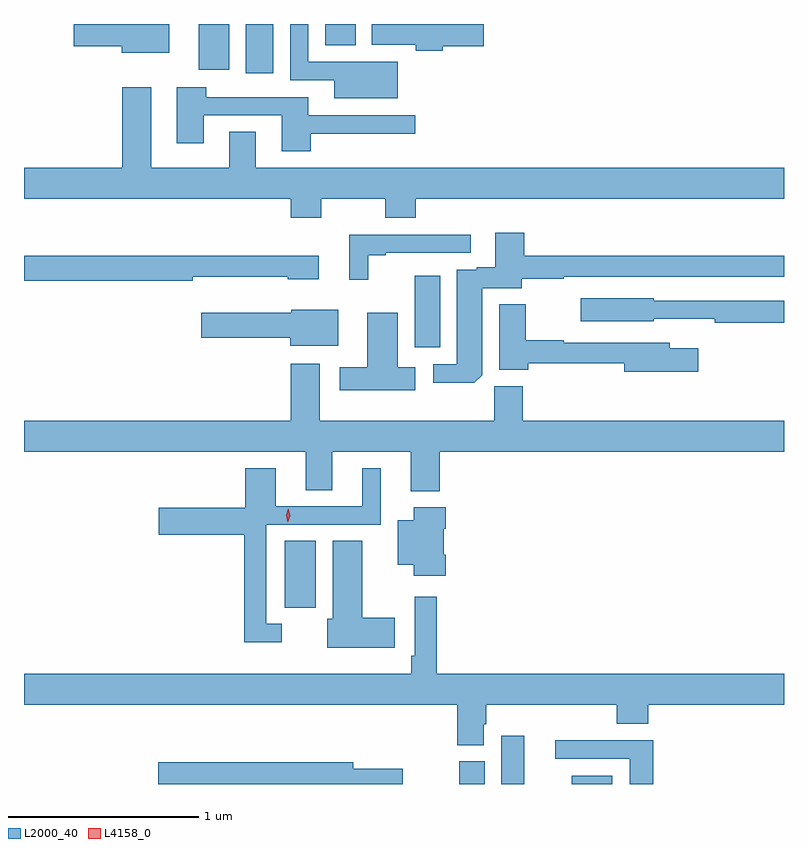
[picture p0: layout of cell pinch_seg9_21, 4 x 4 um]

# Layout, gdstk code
import gdstk
lib = gdstk.Library(unit=1e-6, precision=1e-09)
def R(c, l, rs):  # rectangles x0, y0, x1, y1
    for r in rs: c.add(gdstk.rectangle(r[:2], r[2:], *l))
def P(c, l, *ps):  # polygons
    for p in ps: c.add(gdstk.Polygon(p, *l))
L2000_40 = (2000, 40)
L4158_0 = (4158, 0)

pinch_seg9_21 = lib.new_cell('pinch_seg9_21')
R(pinch_seg9_21, L2000_40, [(978.104,1235.964,978.238,1236.084), (978.326,1235.964,978.448,1236.217), (978.698,1235.964,978.91,1236.007), (977.186,1236.891,977.35,1237.244), (977.87,1238.262,978.004,1238.638), (976.982,1239.705,977.125,1239.964), (976.733,1239.723,976.894,1239.964), (977.399,1239.851,977.56,1239.964)])
P(pinch_seg9_21, L2000_40, [(976.579,1239.964),(976.076,1239.964),(976.076,1239.848),(976.328,1239.848),(976.328,1239.812),(976.579,1239.812)],
  [(977.782,1239.766),(977.556,1239.766),(977.556,1239.765),(977.31,1239.765),(977.31,1239.964),(977.214,1239.964),(977.214,1239.669),(977.447,1239.669),(977.447,1239.572),(977.782,1239.572)],
  [(978.017,1239.848),(978.235,1239.848),(978.235,1239.964),(977.645,1239.964),(977.645,1239.854),(977.875,1239.854),(977.875,1239.824),(978.017,1239.824)],
  [(977.379,1239.044),(977.716,1239.044),(977.716,1238.945),(977.876,1238.945),(977.876,1239.044),(979.814,1239.044),(979.814,1239.208),(977.035,1239.208),(977.035,1239.398),(976.895,1239.398),(976.895,1239.208),(976.483,1239.208),(976.483,1239.631),(976.331,1239.631),(976.331,1239.208),(975.814,1239.208),(975.814,1239.044),(977.219,1239.044),(977.219,1238.945),(977.379,1238.945)],
  [(977.324,1239.386),(977.872,1239.386),(977.872,1239.483),(977.311,1239.483),(977.311,1239.579),(976.772,1239.579),(976.772,1239.631),(976.619,1239.631),(976.619,1239.336),(976.759,1239.336),(976.759,1239.483),(977.171,1239.483),(977.171,1239.294),(977.324,1239.294)],
  [(978.226,1238.116),(978.226,1238.574),(978.433,1238.574),(978.433,1238.622),(978.656,1238.622),(978.656,1238.634),(979.814,1238.634),(979.814,1238.743),(978.446,1238.743),(978.446,1238.866),(978.293,1238.866),(978.293,1238.683),(978.197,1238.683),(978.197,1238.67),(978.092,1238.67),(978.092,1238.172),(977.967,1238.172),(977.967,1238.075),(978.185,1238.075)],
  [(977.625,1238.748),(977.719,1238.748),(977.719,1238.76),(978.166,1238.76),(978.166,1238.856),(977.525,1238.856),(977.525,1238.619),(977.625,1238.619)],
  [(976.702,1238.633),(977.202,1238.633),(977.202,1238.621),(977.365,1238.621),(977.365,1238.743),(975.814,1238.743),(975.814,1238.614),(976.702,1238.614)],
  [(979.814,1238.508),(979.128,1238.508),(979.128,1238.521),(978.744,1238.521),(978.744,1238.399),(979.128,1238.399),(979.128,1238.412),(979.45,1238.412),(979.45,1238.392),(979.814,1238.392)],
  [(979.363,1238.257),(979.213,1238.257),(979.213,1238.286),(978.656,1238.286),(978.656,1238.299),(978.454,1238.299),(978.454,1238.489),(978.314,1238.489),(978.314,1238.143),(978.467,1238.143),(978.467,1238.178),(978.974,1238.178),(978.974,1238.135),(979.363,1238.135)],
  [(977.467,1238.461),(977.22,1238.461),(977.22,1238.443),(976.746,1238.443),(976.746,1238.314),(977.216,1238.314),(977.216,1238.27),(977.467,1238.27)],
  [(977.872,1238.158),(977.782,1238.158),(977.782,1238.443),(977.621,1238.443),(977.621,1238.158),(977.475,1238.158),(977.475,1238.036),(977.872,1238.036)],
  [(978.002,1237.712),(979.814,1237.712),(979.814,1237.876),(978.44,1237.876),(978.44,1238.058),(978.289,1238.058),(978.289,1237.876),(977.371,1237.876),(977.371,1238.176),(977.219,1238.176),(977.219,1237.876),(975.814,1237.876),(975.814,1237.712),(977.297,1237.712),(977.297,1237.51),(977.437,1237.51),(977.437,1237.712),(977.849,1237.712),(977.849,1237.506),(978.002,1237.506)],
  [(977.17,1236.807),(977.088,1236.807),(977.088,1237.329),(977.692,1237.329),(977.692,1237.627),(977.594,1237.627),(977.594,1237.425),(977.14,1237.425),(977.14,1237.627),(976.979,1237.627),(976.979,1237.419),(976.524,1237.419),(976.524,1237.277),(976.972,1237.277),(976.972,1236.71),(977.17,1236.71)],
  [(978.035,1237.171),(978.022,1237.171),(978.022,1237.307),(978.035,1237.307),(978.035,1237.42),(977.864,1237.42),(977.864,1237.351),(977.78,1237.351),(977.78,1237.118),(977.864,1237.118),(977.864,1237.059),(978.035,1237.059)],
  [(977.764,1236.838),(977.593,1236.838),(977.593,1237.244),(977.438,1237.244),(977.438,1236.834),(977.411,1236.834),(977.411,1236.68),(977.764,1236.68)],
  [(978.235,1236.279),(978.248,1236.279),(978.248,1236.38),(978.935,1236.38),(978.935,1236.281),(979.1,1236.281),(979.1,1236.38),(979.814,1236.38),(979.814,1236.544),(977.987,1236.544),(977.987,1236.949),(977.871,1236.949),(977.871,1236.64),(977.851,1236.64),(977.851,1236.544),(975.814,1236.544),(975.814,1236.38),(978.095,1236.38),(978.095,1236.169),(978.235,1236.169)],
  [(979.127,1236.194),(978.609,1236.194),(978.609,1236.096),(979.001,1236.096),(979.001,1235.964),(979.127,1235.964)],
  [(977.807,1236.045),(977.548,1236.045),(977.548,1236.079),(976.52,1236.079),(976.52,1235.964),(977.807,1235.964)])
P(pinch_seg9_21, L4158_0, [(977.203,1237.341),(977.203,1237.341),(977.194,1237.378),(977.206,1237.413),(977.206,1237.413),(977.206,1237.413),(977.214,1237.377),(977.203,1237.341)])

lib.write_gds('pinch_seg9_21.gds')
